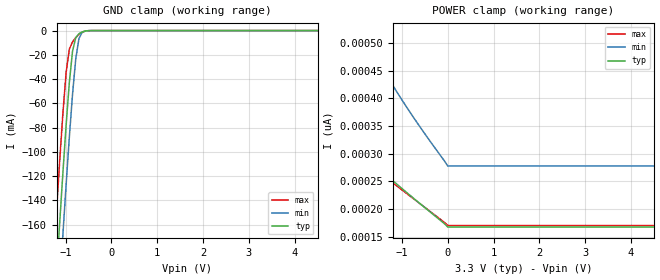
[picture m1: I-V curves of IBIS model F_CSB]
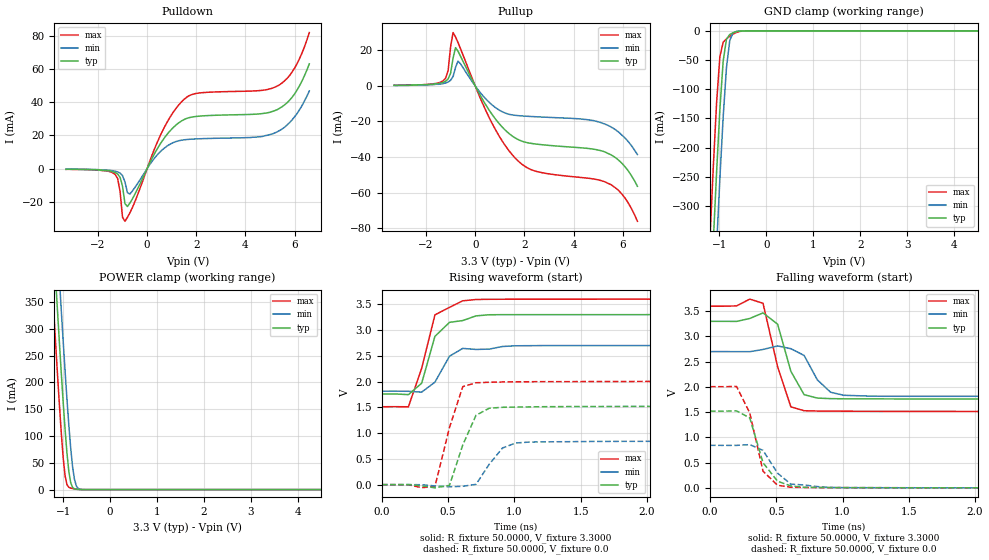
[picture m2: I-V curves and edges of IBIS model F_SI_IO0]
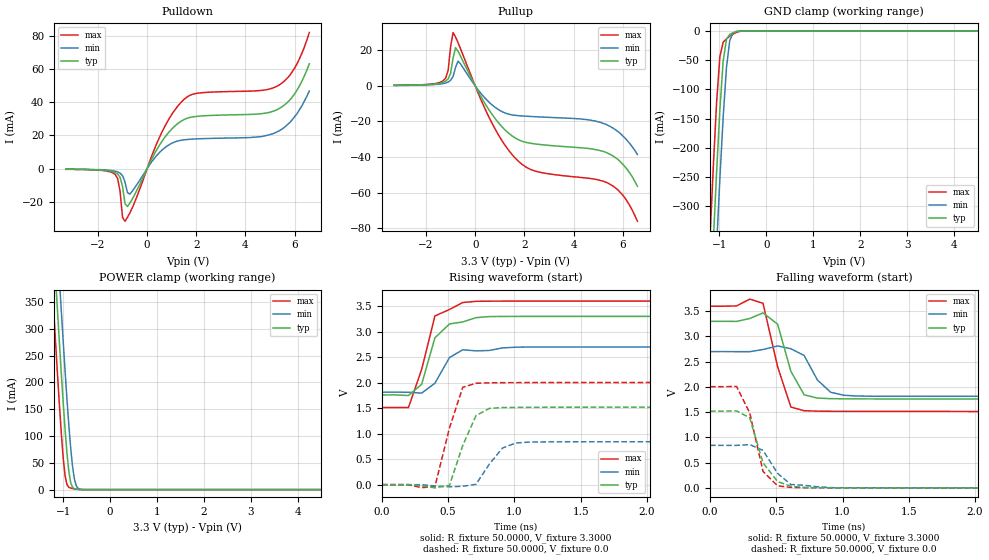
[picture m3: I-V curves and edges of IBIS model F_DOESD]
| This IBIS file was created by s2ibis3 version 1.1
| North Carolina State University, ERL, 2006
[IBIS ver] 3.2
[File name] s25fl164k_d_i_33_r2.ibs
[File Rev] 2.0
| Rev1.0 Initial model
| Rev2.0 Update c-comp with measurement
[Date] 06/19/2015
[Source] Cypress IBIS team
[Notes]  Generated IBIS models from SPICE simulations.
|   Vio=3.3V, Temperature range of -40C to 85C
[Disclaimer] THE MODEL LIBRARIES ARE PROVIDED AS IS.
|  CYPRESS MAKES NO WARRANTIES WITH RESPECT
|  TO THE MODEL LIBRARIES, EITHER EXPRESS OR IMPLIED,
|  INCLUDING ANY IMPLIED WARRANTIES OF MERCHANTABILITY
|  OR FITNESS FOR A PARTICULAR PURPOSE.
[Copyright] (C) COPYRIGHT 2015
| CYPRESS
| ALL RIGHTS RESERVED.
|   Component FL164K in FAB024 package
[Component] FL164K
[Manufacturer] CYPRESS
[Package]
| variable   typ   min   max
  R_pkg   175.46mOhm  148.42mOhm  212.75mOhm
  L_pkg   3.62nH   2.65nH   4.72nH
  C_pkg   0.86pF   0.52pF   1.25pF
[Pin]   signal_name model_name  R_pin   L_pin   C_pin
A2   NC   NC
A3   NC   NC
A4   RFU   NC
A5   NC   NC
B1   DNU   NC
B2   SCK   F_SCK   177.35m   3.34n   0.91p
B3   VSS   GND
B4   VCC   POWER
B5   NC   NC
C1   DNU   NC
C2   CS#   F_CSB   160.91m   3.56n   0.76p
C3   RFU   NC
C4   WP#/IO2   F_WPBESD   156.88m   2.65n   0.78p
C5   NC   NC
D1   DNU   NC
D2   SO/IO1   F_DOESD   148.42m   3.26n   0.52p
D3   SI/IO0   F_SI_IO0   196.42m   4.19n   1.25p
D4   HOLD#/IO3   F_HOLDBESD  212.75m   4.72n   0.93p
D5   NC   NC
E1   NC   NC
E2   NC   NC
E3   NC   NC
E4   RFU   NC
E5   NC   NC
| Models and submodels in the file (6): F_CSB (Input), F_SI_IO0 (I/O), F_DOESD (I/O), F_HOLDBESD (I/O), F_SCK (Input), F_WPBESD (I/O)
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|   Model   F_CSB
[Model]   F_CSB
Model_type Input
Vinl =   0.9900V | Vinl = 0.3*Vio
Vinh =   2.3100V | Vinh = 0.7*Vio
C_comp   2.82pF   2.72pF   2.98pF
[Temperature Range]   25.0000   85.0000   -40.0000
[Pullup Reference]   3.3000V   2.7000V   3.6000V
[Pulldown Reference]   0.0V   0.0V   0.0V
[POWER Clamp Reference]   3.3000V   2.7000V   3.6000V
[GND Clamp Reference]   0.0V   0.0V   0.0V
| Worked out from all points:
|   GND clamp passes 1 mA (typ) near -0.63 V on its own axis
[GND_clamp]
|Voltage   I(typ)   I(min)   I(max)
-3.3V     -1.566A    -1.616A    -1.518A
-1.27V    -243.7mA   -295.9mA   -191.6mA
-1.2V     -200.5mA   -252.5mA   -148.6mA
-1.13V    -158mA     -209.6mA   -107mA
-1.06V    -116.8mA   -167.6mA   -67.81mA
-990mV    -77.72mA   -126.8mA   -34.39mA
-920mV    -42.73mA   -87.81mA   -15.22mA
-850mV    -16.88mA   -52.26mA   -9.295mA
-780mV    -5.812mA   -23.32mA   -5.856mA
-710mV    -2.602mA   -6.559mA   -3.145mA
-640mV    -1.085mA   -1.45mA    -1.278mA
6.6V      167.1pA    347.5pA    145.1pA
[POWER_clamp]
|Voltage   I(typ)   I(min)   I(max)
-3.28V    3.216uA    1.339uA    6.319uA
-1.92V    653.5pA    1.375nA    525.2pA
-1.88V    507.2pA    1.082nA    405.2pA
-1.84V    418.4pA    884.9pA    342.8pA
-1.8V     364.4pA    752.1pA    310.3pA
-1.76V    331.2pA    662.2pA    293.2pA
-1.72V    310.4pA    600.8pA    284pA
-1.64V    288.6pA    528.3pA    275.3pA
-1.48V    271.4pA    468.1pA    264.7pA
-1.24V    253.8pA    428.8pA    249.5pA
0V        167.1pA    277.5pA    169.8pA
6.6V      167.1pA    277.5pA    169.8pA
|   Model   F_SI_IO0
[Model]   F_SI_IO0
Model_type I/O
Vinl =   0.9900V | Vinl = 0.3*Vio
Vinh =   2.3100V | Vinh = 0.7*Vio
Vmeas =  1.6500V | Vmeas = 0.5*Vio
Cref =   30.0000pF
   C_comp   5.27pF   5.08pF   5.51pF
[Temperature Range]   25.0000   85.0000   -40.0000
[Pullup Reference]   3.3000V   2.7000V   3.6000V
[Pulldown Reference]   0.0V   0.0V   0.0V
[POWER Clamp Reference]   3.3000V   2.7000V   3.6000V
[GND Clamp Reference]   0.0V   0.0V   0.0V
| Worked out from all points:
|   slope of the pulldown table from 0 to 0.495 V, typ, clamps not added: 35.6 ohm
|   slope of the pullup table from 0 to 0.495 V, typ, clamps not added: 41 ohm
|   GND clamp passes 1 mA (typ) near -0.61 V on its own axis
|   POWER clamp passes 1 mA (typ) near -0.74 V on its own axis
|   rising waveform, R_fixture 50.0000, V_fixture 3.3000: 20-80 % time 135ps typ, 130ps min, 133ps max; typ from 1.76 V to 3.3 V
|   rising waveform, R_fixture 50.0000, V_fixture 0.0: 20-80 % time 137ps typ, 147ps min, 130ps max; typ from 0 V to 1.52 V
|   falling waveform, R_fixture 50.0000, V_fixture 3.3000: 20-80 % time 126ps typ, 140ps min, 128ps max; typ from 3.3 V to 1.76 V
|   falling waveform, R_fixture 50.0000, V_fixture 0.0: 20-80 % time 139ps typ, 150ps min, 117ps max; typ from 1.52 V to 0 V
[Pulldown]
|Voltage   I(typ)   I(min)   I(max)
-3.3V     -400uA     -300uA     -400uA
-1.3V     -2.31mA    -1.52mA    -3.49mA
-1.1V     -5.16mA    -2.69mA    -13.54mA
-1V       -10.53mA   -4.21mA    -29.24mA
-900mV    -21.04mA   -7.97mA    -31.64mA
-700mV    -20.7mA    -15.25mA   -26.55mA
500mV     14.03mA    9.643mA    18.71mA
1.4V      28.67mA    17.11mA    40.16mA
2V        31.4mA     17.89mA    45.22mA
5.4V      36.4mA     23mA       50.5mA
6.1V      47.2mA     33.1mA     63mA
6.6V      63mA       46.7mA     81.8mA
[Pullup]
|Voltage   I(typ)   I(min)   I(max)
-3.3V     300uA      300uA      400uA
-1.3V     2.02mA     1.32mA     2.92mA
-1.1V     3.98mA     2.18mA     8.75mA
-900mV    15.65mA    5.28mA     30.01mA
-800mV    21.52mA    10.36mA    27.55mA
-700mV    19.55mA    13.95mA    24.4mA
600mV     -14.3mA    -9.641mA   -18.69mA
1.7V      -29.86mA   -16.67mA   -41.62mA
2.5V      -32.77mA   -17.38mA   -48.16mA
5.5V      -38.6mA    -22.9mA    -55.4mA
6.1V      -45.6mA    -29.4mA    -63.2mA
6.6V      -56.5mA    -38.6mA    -76.2mA
[GND_clamp]
|Voltage   I(typ)   I(min)   I(max)
-3.3V     -4.569A    -4.693A    -4.451A
-1.2V     -484.9mA   -617.5mA   -354.2mA
-1.13V    -360.6mA   -491.7mA   -232.7mA
-1.06V    -242mA     -369.6mA   -122.8mA
-990mV    -134.5mA   -253.3mA   -44.01mA
-920mV    -51.67mA   -147.7mA   -19.47mA
-850mV    -14.26mA   -63.23mA   -13.54mA
-780mV    -6.034mA   -16.58mA   -9.219mA
-710mV    -3.121mA   -3.394mA   -5.558mA
-570mV    -405.3uA   -188.8uA   -923.9uA
-430mV    -13.61uA   -7.325uA   -26.36uA
6.6V      151.3pA    184.7uA    126.7pA
[POWER_clamp]
|Voltage   I(typ)   I(min)   I(max)
-3.28V    3.825A     3.938A     3.715A
-1.24V    511.8mA    632.7mA    391.3mA
-1.2V     450.7mA    571.4mA    330.5mA
-1.16V    390.3mA    510.6mA    270.7mA
-1.12V    330.9mA    450.4mA    212.5mA
-1.08V    272.6mA    391.1mA    156.6mA
-1.04V    216.1mA    332.9mA    104.4mA
-960mV    111.9mA    221mA      25.52mA
-840mV    12.78mA    76.83mA    2.825mA
-760mV    1.382mA    18.93mA    1.282mA
-600mV    42.29uA    184.7uA    76.58uA
6.6V      151.3pA    168.2pA    151.1pA
[Ramp]
| variable   typ   min   max
dV/dt_r  0.9125/99.4049p   0.5054/0.1252n   1.2033/76.7339p
dV/dt_f  0.9248/96.5378p   0.5321/0.1188n   1.2528/76.8209p
R_load = 50.0000
[Rising Waveform]
R_fixture= 50.0000
V_fixture= 3.3000
V_fixture_min= 2.7000
V_fixture_max= 3.6000
|time   V(typ)   V(min)   V(max)
0s        1.758V     1.813V     1.512V
200ps     1.747V     1.812V     1.511V
300ps     1.968V     1.795V     2.257V
400ps     2.877V     1.989V     3.295V
510ps     3.149V     2.492V     3.44V
610ps     3.184V     2.644V     3.567V
710ps     3.275V     2.623V     3.593V
1.21ns    3.299V     2.698V     3.598V
9.9ns     3.3V       2.728V     3.6V
10ns      3.3V       2.7V       3.6V
[Rising Waveform]
R_fixture= 50.0000
V_fixture= 0.0
V_fixture_min= 0.0
V_fixture_max= 0.0
|time   V(typ)   V(min)   V(max)
0s        -57.72uV   49.41uV    -120.2uV
400ps     -62.53mV   -25.17mV   -37.45mV
510ps     -13.59mV   -41.84mV   1.109V
610ps     767.6mV    -31.7mV    1.902V
710ps     1.346V     5.519mV    1.977V
810ps     1.483V     395.5mV    1.987V
910ps     1.501V     710.7mV    1.993V
1.01ns    1.505V     808.4mV    1.997V
1.11ns    1.509V     825.4mV    1.997V
10ns      1.521V     842.4mV    2.006V
[Falling Waveform]
R_fixture= 50.0000
V_fixture= 3.3000
V_fixture_min= 2.7000
V_fixture_max= 3.6000
|time   V(typ)   V(min)   V(max)
0s        3.3V       2.7V       3.6V
300ps     3.357V     2.699V     3.74V
400ps     3.468V     2.743V     3.658V
510ps     3.245V     2.813V     2.402V
610ps     2.311V     2.758V     1.605V
710ps     1.847V     2.625V     1.529V
810ps     1.779V     2.14V      1.523V
910ps     1.768V     1.895V     1.521V
1.01ns    1.765V     1.835V     1.519V
10ns      1.759V     1.813V     1.512V
[Falling Waveform]
R_fixture= 50.0000
V_fixture= 0.0
V_fixture_min= 0.0
V_fixture_max= 0.0
|time   V(typ)   V(min)   V(max)
0s        1.521V     842.5mV    2.006V
200ps     1.526V     841.8mV    2.01V
300ps     1.387V     856.8mV    1.484V
400ps     497.7mV    742.8mV    330.2mV
510ps     130.7mV    290.7mV    50.89mV
610ps     38.19mV    73.43mV    12.13mV
710ps     11.7mV     57.24mV    8.189mV
810ps     6.861mV    24.93mV    6.162mV
1.01ns    3.998mV    4.093mV    4.905mV
10ns      -21.96uV   11.68uV    67.09uV
|   Model   F_DOESD
[Model]   F_DOESD
Model_type I/O
Vinl =   0.9900V | Vinl = 0.3*Vio
Vinh =   2.3100V | Vinh = 0.7*Vio
Vmeas =  1.6500V | Vmeas = 0.5*Vio
Cref =   30.0000pF
   C_comp   5.14pF   4.85pF   5.37pF
[Temperature Range]   25.0000   85.0000   -40.0000
[Pullup Reference]   3.3000V   2.7000V   3.6000V
[Pulldown Reference]   0.0V   0.0V   0.0V
[POWER Clamp Reference]   3.3000V   2.7000V   3.6000V
[GND Clamp Reference]   0.0V   0.0V   0.0V
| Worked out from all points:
|   slope of the pulldown table from 0 to 0.495 V, typ, clamps not added: 35.6 ohm
|   slope of the pullup table from 0 to 0.495 V, typ, clamps not added: 41 ohm
|   GND clamp passes 1 mA (typ) near -0.61 V on its own axis
|   POWER clamp passes 1 mA (typ) near -0.74 V on its own axis
|   rising waveform, R_fixture 50.0000, V_fixture 3.3000: 20-80 % time 135ps typ, 130ps min, 132ps max; typ from 1.76 V to 3.3 V
|   rising waveform, R_fixture 50.0000, V_fixture 0.0: 20-80 % time 136ps typ, 145ps min, 130ps max; typ from 0 V to 1.52 V
|   falling waveform, R_fixture 50.0000, V_fixture 3.3000: 20-80 % time 125ps typ, 140ps min, 127ps max; typ from 3.3 V to 1.76 V
|   falling waveform, R_fixture 50.0000, V_fixture 0.0: 20-80 % time 138ps typ, 148ps min, 116ps max; typ from 1.52 V to 0 V
[Pulldown]
|Voltage   I(typ)   I(min)   I(max)
-3.3V     -300uA     -300uA     -400uA
-1.3V     -2.31mA    -1.51mA    -3.5mA
-1.1V     -5.16mA    -2.68mA    -13.54mA
-1V       -10.53mA   -4.21mA    -29.24mA
-900mV    -21.04mA   -7.97mA    -31.64mA
-700mV    -20.69mA   -15.25mA   -26.55mA
500mV     14.03mA    9.643mA    18.71mA
1.4V      28.67mA    17.11mA    40.16mA
2V        31.4mA     17.89mA    45.22mA
5.4V      36.4mA     23mA       50.5mA
6.1V      47.2mA     33.1mA     63mA
6.6V      63mA       46.7mA     81.8mA
[Pullup]
|Voltage   I(typ)   I(min)   I(max)
-3.3V     300uA      300uA      400uA
-1.3V     2.01mA     1.32mA     2.92mA
-1.1V     3.98mA     2.18mA     8.75mA
-900mV    15.65mA    5.28mA     30.01mA
-800mV    21.52mA    10.36mA    27.55mA
-700mV    19.55mA    13.95mA    24.4mA
600mV     -14.3mA    -9.641mA   -18.69mA
1.7V      -29.86mA   -16.67mA   -41.62mA
2.5V      -32.77mA   -17.38mA   -48.16mA
5.4V      -37.9mA    -22.2mA    -54.7mA
6V        -44mA      -28.1mA    -61.4mA
6.6V      -56.5mA    -38.6mA    -76.2mA
[GND_clamp]
|Voltage   I(typ)   I(min)   I(max)
-3.3V     -4.568A    -4.691A    -4.449A
-1.2V     -484.7mA   -617.2mA   -354.1mA
-1.13V    -360.4mA   -491.5mA   -232.6mA
-1.06V    -241.9mA   -369.3mA   -122.7mA
-990mV    -134.4mA   -253.1mA   -43.95mA
-920mV    -51.59mA   -147.6mA   -19.44mA
-850mV    -14.21mA   -63.13mA   -13.54mA
-780mV    -6.013mA   -16.51mA   -9.218mA
-710mV    -3.116mA   -3.354mA   -5.558mA
-570mV    -405.2uA   -185.8uA   -923.9uA
-430mV    -13.61uA   -7.287uA   -26.36uA
6.6V      145.6pA    184.7uA    120.8pA
[POWER_clamp]
|Voltage   I(typ)   I(min)   I(max)
-3.28V    3.825A     3.938A     3.715A
-1.24V    511.8mA    632.7mA    391.3mA
-1.2V     450.7mA    571.4mA    330.5mA
-1.16V    390.3mA    510.6mA    270.7mA
-1.12V    330.9mA    450.4mA    212.5mA
-1.08V    272.6mA    391.1mA    156.6mA
-1.04V    216.1mA    332.9mA    104.4mA
-960mV    111.9mA    221mA      25.52mA
-840mV    12.78mA    76.83mA    2.825mA
-760mV    1.382mA    18.93mA    1.282mA
-600mV    42.29uA    184.7uA    76.58uA
6.6V      145.6pA    163.5pA    144.9pA
[Ramp]
| variable   typ   min   max
dV/dt_r  0.9125/98.5193p   0.5054/0.1230n   1.2032/76.3721p
dV/dt_f  0.9248/96.6302p   0.5321/0.1189n   1.2528/76.8925p
R_load = 50.0000
[Rising Waveform]
R_fixture= 50.0000
V_fixture= 3.3000
V_fixture_min= 2.7000
V_fixture_max= 3.6000
|time   V(typ)   V(min)   V(max)
0s        1.758V     1.813V     1.512V
200ps     1.747V     1.812V     1.511V
300ps     1.968V     1.795V     2.258V
400ps     2.879V     1.989V     3.307V
510ps     3.151V     2.492V     3.434V
610ps     3.19V      2.644V     3.571V
710ps     3.274V     2.623V     3.594V
1.11ns    3.299V     2.698V     3.598V
9.9ns     3.334V     2.728V     3.637V
10ns      3.3V       2.7V       3.6V
[Rising Waveform]
R_fixture= 50.0000
V_fixture= 0.0
V_fixture_min= 0.0
V_fixture_max= 0.0
|time   V(typ)   V(min)   V(max)
0s        -57.65uV   49.36uV    -120.2uV
400ps     -62.86mV   -25.09mV   -37.81mV
510ps     -14.13mV   -42.24mV   1.112V
610ps     769.6mV    -32.02mV   1.909V
710ps     1.354V     6.967mV    1.987V
810ps     1.494V     401.1mV    1.996V
910ps     1.512V     717.9mV    2V
1.01ns    1.514V     817.1mV    2.001V
1.11ns    1.516V     833.9mV    2.001V
10ns      1.521V     842.4mV    2.005V
[Falling Waveform]
R_fixture= 50.0000
V_fixture= 3.3000
V_fixture_min= 2.7000
V_fixture_max= 3.6000
|time   V(typ)   V(min)   V(max)
0s        3.3V       2.7V       3.6V
300ps     3.357V     2.699V     3.74V
400ps     3.467V     2.742V     3.658V
510ps     3.245V     2.813V     2.402V
610ps     2.311V     2.758V     1.602V
710ps     1.845V     2.624V     1.528V
810ps     1.779V     2.14V      1.52V
910ps     1.768V     1.895V     1.518V
1.11ns    1.763V     1.82V      1.516V
10ns      1.759V     1.813V     1.512V
[Falling Waveform]
R_fixture= 50.0000
V_fixture= 0.0
V_fixture_min= 0.0
V_fixture_max= 0.0
|time   V(typ)   V(min)   V(max)
0s        1.521V     842.5mV    2.006V
200ps     1.526V     841.8mV    2.01V
300ps     1.387V     856.8mV    1.484V
400ps     494.8mV    742.7mV    326.2mV
510ps     124.4mV    288.3mV    40.13mV
610ps     33.17mV    67.14mV    9.667mV
710ps     6.833mV    51.52mV    4.75mV
810ps     2.606mV    21.27mV    2.96mV
1.01ns    1.381mV    1.695mV    1.613mV
10ns      -21.69uV   11.64uV    28.14uV
